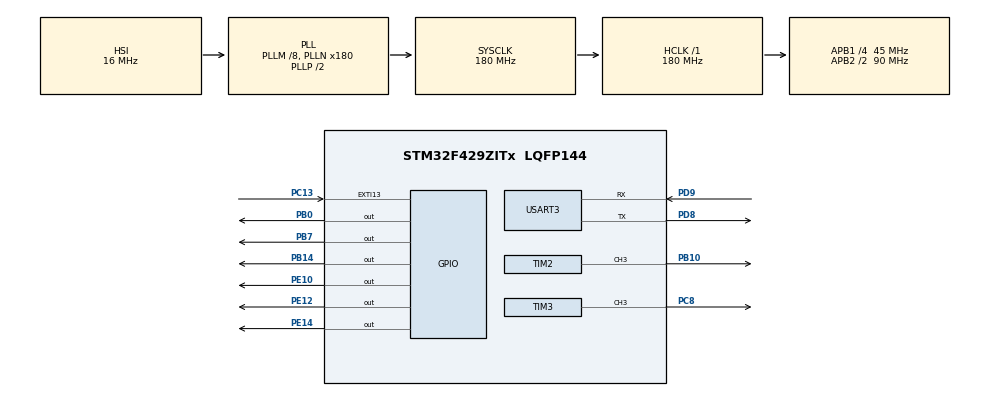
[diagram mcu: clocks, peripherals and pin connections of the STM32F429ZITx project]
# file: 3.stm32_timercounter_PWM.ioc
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Mcu.Family=STM32F4
Mcu.Name=STM32F429ZITx
Mcu.Package=LQFP144
NVIC.EXTI15_10_IRQn=true\:0\:0\:false\:true\:true\:5\:true\:true\:true
NVIC.PriorityGroup=NVIC_PRIORITYGROUP_4
NVIC.TIM2_IRQn=true\:0\:0\:false\:true\:true\:1\:true\:true\:true
NVIC.TIM3_IRQn=true\:0\:0\:false\:true\:true\:2\:true\:true\:true
NVIC.TIM4_IRQn=true\:0\:0\:false\:true\:true\:3\:true\:true\:true
NVIC.USART3_IRQn=true\:0\:0\:false\:true\:true\:4\:true\:true\:true
PA13.Mode=Serial_Wire
PA13.Signal=SYS_JTMS-SWDIO
PA14.Mode=Serial_Wire
PA14.Signal=SYS_JTCK-SWCLK
PB0.Signal=GPIO_Output
PB10.Signal=S_TIM2_CH3
PB14.Signal=GPIO_Output
PB7.Signal=GPIO_Output
PC13.Signal=GPXTI13
PC14/OSC32_IN.Mode=LSE-External-Oscillator
PC14/OSC32_IN.Signal=RCC_OSC32_IN
PC15/OSC32_OUT.Mode=LSE-External-Oscillator
PC15/OSC32_OUT.Signal=RCC_OSC32_OUT
PC8.Signal=S_TIM3_CH3
PD8.Mode=Asynchronous
PD8.Signal=USART3_TX
PD9.Mode=Asynchronous
PD9.Signal=USART3_RX
PE10.Signal=GPIO_Output
PE12.Signal=GPIO_Output
PE14.Signal=GPIO_Output
ProjectManager.HeapSize=0x200
ProjectManager.StackSize=0x400
ProjectManager.TargetToolchain=STM32CubeIDE
RCC.48MHZClocksFreq_Value=90000000
RCC.AHBFreq_Value=180000000
RCC.APB1CLKDivider=RCC_HCLK_DIV4
RCC.APB1Freq_Value=45000000
RCC.APB1TimFreq_Value=90000000
RCC.APB2CLKDivider=RCC_HCLK_DIV2
RCC.APB2Freq_Value=90000000
RCC.APB2TimFreq_Value=180000000
RCC.CortexFreq_Value=180000000
RCC.HCLKFreq_Value=180000000
RCC.HSE_VALUE=25000000
RCC.HSI_VALUE=16000000
RCC.PLLM=8
RCC.PLLN=180
RCC.RCC_RTC_Clock_Source=RCC_RTCCLKSOURCE_LSE
RCC.RCC_RTC_Clock_SourceVirtual=RCC_RTCCLKSOURCE_LSE
RCC.SYSCLKFreq_VALUE=180000000
RCC.SYSCLKSource=RCC_SYSCLKSOURCE_PLLCLK
RCC.VCOOutputFreq_Value=360000000
SH.S_TIM2_CH3.0=TIM2_CH3,PWM Generation3 CH3
SH.S_TIM3_CH3.0=TIM3_CH3,PWM Generation3 CH3
TIM2.AutoReloadPreload=TIM_AUTORELOAD_PRELOAD_ENABLE
TIM2.Channel-PWM\ Generation3\ CH3=TIM_CHANNEL_3
TIM2.CounterMode=TIM_COUNTERMODE_DOWN
TIM2.Period=6000-1
TIM2.Prescaler=30-1
TIM2.Pulse-PWM\ Generation3\ CH3=3100
TIM3.Channel-PWM\ Generation3\ CH3=TIM_CHANNEL_3
TIM3.Period=2000-1
TIM3.Prescaler=900-1
TIM3.Pulse-PWM\ Generation3\ CH3=100
TIM4.Period=1000
TIM4.Prescaler=9000-1
USART3.VirtualMode=VM_ASYNC
VP_RTC_VS_RTC_Activate.Mode=RTC_Enabled
VP_TIM2_VS_ClockSourceINT.Mode=Internal
VP_TIM3_VS_ClockSourceINT.Mode=Internal
VP_TIM4_VS_ClockSourceINT.Mode=Internal
board=custom

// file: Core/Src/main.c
/* USER CODE BEGIN Header */
/**
  ******************************************************************************
  * @file           : main.c
  * @brief          : Main program body
  ******************************************************************************
  * @attention
  *
  * Copyright (c) 2022 STMicroelectronics.
  * All rights reserved.
  *
  * This software is licensed under terms that can be found in the LICENSE file
  * in the root directory of this software component.
  * If no LICENSE file comes with this software, it is provided AS-IS.
  *
  ******************************************************************************
  */
/* USER CODE END Header */
#include "main.h"
#include "rtc.h"
#include "tim.h"
#include "usart.h"
#include "gpio.h"

void SystemClock_Config(void);
static void MX_NVIC_Init(void);
/* USER CODE BEGIN PFP */
int __io_putchar(int ch) {
	HAL_UART_Transmit(&huart3, &ch, 1, 1000);
	return ch;
}
/* USER CODE END PFP */

/* USER CODE BEGIN 0 */
#define MaxHz 3060000

int pitchtoint(char p);
int pow2(int num);
double pow106(int num);
void musicQ(char*music, int delay);

struct sheet getsheet(struct music ,int select);

int beat = 1;
uint8_t rx_data;

uint32_t begin_tick = 0;
uint32_t current_tick = 0;

/* USER CODE END 0 */

int main(void)
{

  /* MCU Configuration--------------------------------------------------------*/

  /* Reset of all peripherals, Initializes the Flash interface and the Systick. */
  HAL_Init();

  /* Configure the system clock */
  SystemClock_Config();

  /* Initialize all configured peripherals */
  MX_GPIO_Init();
  MX_RTC_Init();
  MX_TIM2_Init();
  MX_TIM3_Init();
  MX_TIM4_Init();
  MX_USART3_UART_Init();

  /* Initialize interrupts */
  MX_NVIC_Init();
  /* USER CODE BEGIN 2 */
//HAL_TIM_Base_Start_IT(&htim2);
//HAL_TIM_Base_Start_IT(&htim3);
//HAL_TIM_Base_Start_IT(&htim4);
HAL_UART_Receive_IT(&huart3, &rx_data, 1);
HAL_TIM_PWM_Start(&htim3, TIM_CHANNEL_3);
HAL_TIM_PWM_Start(&htim2, TIM_CHANNEL_3);

uint16_t CCR_value = 100;
uint16_t ARR_value = 100;

//블로그 정리
//delay를 systic으로 변경
//파형을 곡선으로 변경.
//main for문 끝날때 조건을 좀더 자연스럽게 바꾸기
//블루투스로 쏠때 packet데이터 생성하는 함수+parsing하는 함수.

//c++과제하러가야해서 나중에함.
typedef struct _music1 {
	char music1[3];			//구조체 배열 넣으려했는데 안됨. 그리고 이거 악보로 만들려고 한거임.
	int durations[];		//박자.

}music1;

char* canon[] = {
		"5g","5e","5f","5g","5e","5f","5g",
		"4g","4a","4b","5c","5d","5e","5f",
		"5e","5c","5d","5e","4e","4f","4g","4a","4g","4f","4g","5c","4b","5c",
		"4a","5c","4b","4a","4g", "4f","4g","4f","4e","4f","4g","4a","4b","5c",
		"4a","5c","4b","5c","4b","4a","4b","5c","5d","5c","4b","5c","4a","4b",",","5c",
		"5c","5c","5c","5c","5c","5c","6c"
		",",",",",",",",",",",",",",",",",",",",
		"x"

};

int canonduration[] ={
		500,250,250,500,250,250,250,
		250,250,250,250,250,250,250,
		500,250,250,500,250,250,250,250,250,250,250,250,250,250,
		500,250,250,500,250,250,250,250,250,250,250,250,250,250,
		500,250,250,500,250,250,250,250,250,250,250,250,250,250,1000,250,
		250,250,250,250,250,250,2000,
		250,250,250,250,250,250,250,250,250,250
};

  /* USER CODE END 2 */

  /* Infinite loop */
  /* USER CODE BEGIN WHILE */

  while (1)
  {

	  //char 포인터배열 악보. 배열에 저장된건 문자열. 포인터에 저장된건 배열의 주소들
	  //int 박자

	  	  for(int i = 0 ; canon[i][0] != 'x';i++) {
	  			musicQ(canon[i],canonduration[i]/beat);	//뒤의 박자역할하는 /2를 인터럽트로해서 /i 로 바꾸자.
	  	  }

//	  TIM3->CCR3 = ARR_value/2;	//OCR
//	  CCR_value = 5;
//	  //if(value > 20) value = 10;
//	  HAL_Delay(1000);
//	  if(CCR_value>TIM3->ARR) CCR_value = 10;
////	  HAL_Delay(1000);

    /* USER CODE END WHILE */

  }
}

void SystemClock_Config(void)
{
  RCC_OscInitTypeDef RCC_OscInitStruct = {0};
  RCC_ClkInitTypeDef RCC_ClkInitStruct = {0};

  /** Configure the main internal regulator output voltage
  */
  __HAL_RCC_PWR_CLK_ENABLE();
  __HAL_PWR_VOLTAGESCALING_CONFIG(PWR_REGULATOR_VOLTAGE_SCALE1);

  /** Initializes the RCC Oscillators according to the specified parameters
  * in the RCC_OscInitTypeDef structure.
  */
  RCC_OscInitStruct.OscillatorType = RCC_OSCILLATORTYPE_HSI|RCC_OSCILLATORTYPE_LSE;
  RCC_OscInitStruct.LSEState = RCC_LSE_ON;
  RCC_OscInitStruct.HSIState = RCC_HSI_ON;
  RCC_OscInitStruct.HSICalibrationValue = RCC_HSICALIBRATION_DEFAULT;
  RCC_OscInitStruct.PLL.PLLState = RCC_PLL_ON;
  RCC_OscInitStruct.PLL.PLLSource = RCC_PLLSOURCE_HSI;
  RCC_OscInitStruct.PLL.PLLM = 8;
  RCC_OscInitStruct.PLL.PLLN = 180;
  RCC_OscInitStruct.PLL.PLLP = RCC_PLLP_DIV2;
  RCC_OscInitStruct.PLL.PLLQ = 4;
  if (HAL_RCC_OscConfig(&RCC_OscInitStruct) != HAL_OK)
  {
    Error_Handler();
  }

  /** Activate the Over-Drive mode
  */
  if (HAL_PWREx_EnableOverDrive() != HAL_OK)
  {
    Error_Handler();
  }

  /** Initializes the CPU, AHB and APB buses clocks
  */
  RCC_ClkInitStruct.ClockType = RCC_CLOCKTYPE_HCLK|RCC_CLOCKTYPE_SYSCLK
                              |RCC_CLOCKTYPE_PCLK1|RCC_CLOCKTYPE_PCLK2;
  RCC_ClkInitStruct.SYSCLKSource = RCC_SYSCLKSOURCE_PLLCLK;
  RCC_ClkInitStruct.AHBCLKDivider = RCC_SYSCLK_DIV1;
  RCC_ClkInitStruct.APB1CLKDivider = RCC_HCLK_DIV4;
  RCC_ClkInitStruct.APB2CLKDivider = RCC_HCLK_DIV2;

  if (HAL_RCC_ClockConfig(&RCC_ClkInitStruct, FLASH_LATENCY_5) != HAL_OK)
  {
    Error_Handler();
  }
}

/**
  * @brief NVIC Configuration.
  * @retval None
  */
static void MX_NVIC_Init(void)
{
  /* TIM2_IRQn interrupt configuration */
  HAL_NVIC_SetPriority(TIM2_IRQn, 0, 0);
  HAL_NVIC_EnableIRQ(TIM2_IRQn);
  /* TIM3_IRQn interrupt configuration */
  HAL_NVIC_SetPriority(TIM3_IRQn, 0, 0);
  HAL_NVIC_EnableIRQ(TIM3_IRQn);
  /* TIM4_IRQn interrupt configuration */
  HAL_NVIC_SetPriority(TIM4_IRQn, 0, 0);
  HAL_NVIC_EnableIRQ(TIM4_IRQn);
  /* USART3_IRQn interrupt configuration */
  HAL_NVIC_SetPriority(USART3_IRQn, 0, 0);
  HAL_NVIC_EnableIRQ(USART3_IRQn);
  /* EXTI15_10_IRQn interrupt configuration */
  HAL_NVIC_SetPriority(EXTI15_10_IRQn, 0, 0);
  HAL_NVIC_EnableIRQ(EXTI15_10_IRQn);
}

/* USER CODE BEGIN 4 */
void musicQ(char*music, int delay){

	int octave = music[0] - '0';
	int pitch = pitchtoint(music[1]);
	int plat = 0;
	double volume = 1;

	begin_tick = HAL_GetTick();

	if(music[2] == 'p') {
		plat = 1;
	} else {
		plat = 0;
	}

	current_tick = HAL_GetTick();
	if(current_tick - begin_tick >= 1){	//틱이 1000이 넘어가면 시작은 끝난지점을 시점이 시작지점이 된다. 1을 반환하여 time_module의 값이 진행되도록 한다.

		begin_tick = current_tick;
	}
	for(int i = delay; i > 0; i--){	//ex) delay = 1000

			if (music[0] == ',') {	//쉼표

				TIM2->CCR3 = 0;
				HAL_Delay(1);
			} else {
				if (i > (delay / 2)) {

					TIM2->ARR = (MaxHz / (16.35 * pow106(pitch + plat) * pow2(octave)));
					TIM2->CCR3 = (MaxHz/ (16.35 * pow106(pitch + plat) * pow2(octave))) * (volume / delay);
					volume++;
					HAL_Delay(1);

				} else if (i <= (delay / 2)) {
					TIM2->ARR = (MaxHz / (16.35 * pow106(pitch + plat) * pow2(octave)));
					TIM2->CCR3 = (MaxHz/ (16.35 * pow106(pitch + plat) * pow2(octave))) * (volume / delay);
					volume--;
					HAL_Delay(1);
				}
			}
	}
		//	if(pitch == 0 && plat == 1) {	//도플랫
		//
		//
		//		TIM2 -> ARR = (MaxHz /(16.35 *pow106(pitch+plat) * pow2(octave)));
		//		TIM2 -> CCR3 = (MaxHz /(16.35 *pow106(pitch+plat) * pow2(octave))) / 2;
		//		HAL_Delay(delay);
		//	}
		//	else if (pitch == 0 && plat == 0) { 	//도
		//		TIM2->ARR = (MaxHz / (16.35  * pow2(octave)));
		//		TIM2->CCR3 = (MaxHz / (16.35 * pow2(octave))) / 2;
		//		HAL_Delay(delay);
		//
		//	}

		//	else {
		//	}
}

int pitchtoint(char p){	//계이름.
	if(p == 'c')	{
		return 0;
	}
	else if(p == 'd')	{
		return 2;
	}
	else if(p == 'e')	{
		return 4;
	}
	else if(p == 'f')	{
		return 5;
	}
	else if(p == 'g')	{
		return 7;
	}
	else if(p == 'a')	{
		return 9;
	}
	else if(p == 'b')	{
		return 11;
	}
	else if(','){
		return 12;
	}
}
double pow106(int num){		//2의 제곱승들		//옥타브전용
	double result = 1;

	if(num == 0) result = 1;
	else {
		for(int i = 0 ;i < num; i++){
			result *= 1.06;
		}
	}

	return result;
}
int pow2(int num){		//2의 제곱승들		//옥타브전용
	int result = 1;

	if(num == 0) result = 1;
	else {
		for(int i = 0 ;i < num; i++){
			result *= 2;
		}
	}

	return result;
}

void HAL_GPIO_EXTI_Callback(uint16_t GPIO_Pin){
	if(GPIO_Pin == GPIO_PIN_13) {

		beat *= 2;
		if(beat > 8) {
			beat = 1;
		}

	}

}
void HAL_UART_RxCpltCallback(UART_HandleTypeDef *huart) {

	if(huart->Instance == USART3) {
		HAL_UART_Receive_IT(&huart3, &rx_data, 1);
		HAL_UART_Transmit(&huart3, &rx_data, 1, 1000);
	}

}
//struct sheet getsheet( int select){//음악들이 들어가있는 구조체중에 select 번호의 음악을 선택.
//
//
//
//
//	return;
//}

//void HAL_TIM_PeriodElapsedCallback(TIM_HandleTypeDef *htim) {
//	if(htim->Instance == TIM2) {
//		HAL_GPIO_TogglePin(GPIOB, GPIO_PIN_0);
//	}
//	if(htim->Instance == TIM3) {
//		HAL_GPIO_TogglePin(GPIOB, GPIO_PIN_7);
//	}
//	if(htim->Instance == TIM4) {
//		HAL_GPIO_TogglePin(GPIOB, GPIO_PIN_14);
//	}
//
//
//}
/* USER CODE END 4 */

void Error_Handler(void)
{
  __disable_irq();
  while (1)
  {
  }
}
